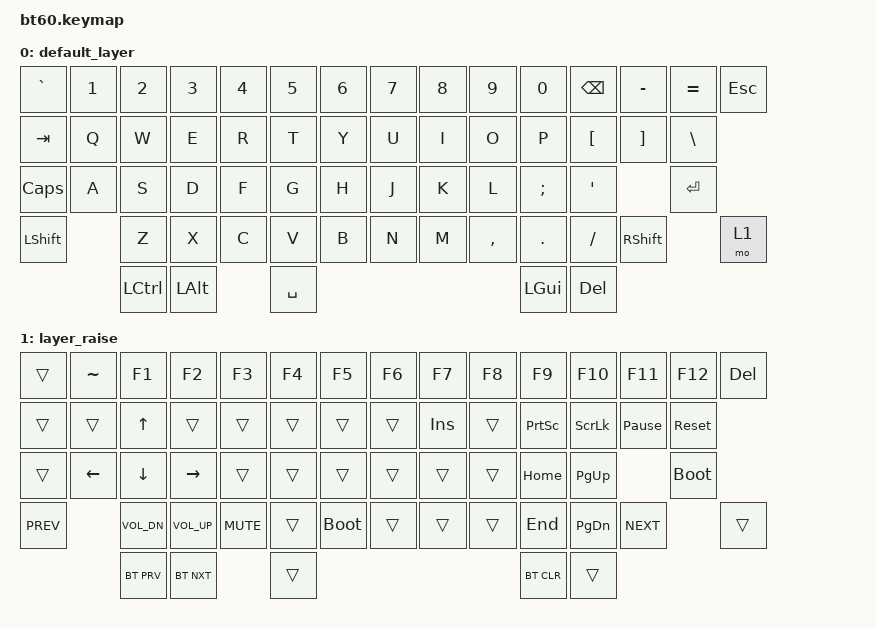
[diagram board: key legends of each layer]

/*
 * Copyright (c) 2020 The ZMK Contributors
 *
 * SPDX-License-Identifier: MIT
 */


/* THIS FILE WAS GENERATED!
 *
 * This file was generated automatically. You may or may not want to
 * edit it directly.
 */

#include <behaviors.dtsi>
#include <dt-bindings/zmk/keys.h>

#include <dt-bindings/zmk/bt.h>

/ {
    keymap {
        compatible = "zmk,keymap";


        default_layer {
            bindings = <
    &kp GRAVE     &kp N1        &kp N2        &kp N3        &kp N4        &kp N5        &kp N6        &kp N7        &kp N8        &kp N9        &kp N0        &kp BSPC      &kp MINUS     &kp EQUAL    &kp ESC
    &kp TAB       &kp Q         &kp W         &kp E         &kp R         &kp T         &kp Y         &kp U         &kp I         &kp O         &kp P         &kp LBKT      &kp RBKT      &kp BSLH
    &kp CLCK      &kp A         &kp S         &kp D         &kp F         &kp G         &kp H         &kp J         &kp K         &kp L         &kp SEMI      &kp SQT                     &kp RET
    &kp LSHFT                   &kp Z         &kp X         &kp C         &kp V         &kp B         &kp N         &kp M         &kp COMMA     &kp DOT       &kp FSLH      &kp RSHFT                   &mo 1
                                &kp LCTRL     &kp LALT                    &kp SPACE                                                             &kp LGUI      &kp DEL                                          
            >;
        };

        layer_raise {
            bindings = <
    &trans        &kp TILDE     &kp F1        &kp F2        &kp F3        &kp F4        &kp F5        &kp F6        &kp F7        &kp F8        &kp F9        &kp F10       &kp F11           &kp F12       &kp DEL       
    &trans        &trans        &kp UP        &trans        &trans        &trans        &trans        &trans        &kp INS       &trans        &kp PSCRN     &kp SLCK      &kp PAUSE_BREAK   &sys_reset
    &trans        &kp LEFT      &kp DOWN      &kp RIGHT     &trans        &trans        &trans        &trans        &trans        &trans        &kp HOME      &kp PG_UP                       &bootloader   
    &kp C_PREV                  &kp C_VOL_DN  &kp C_VOL_UP  &kp C_MUTE    &trans        &bootloader   &trans        &trans        &trans        &kp END       &kp PG_DN     &kp C_NEXT                      &trans
                                &bt BT_PRV    &bt BT_NXT                  &trans                                                                &bt BT_CLR    &trans 
            >;
        };

    };
};
